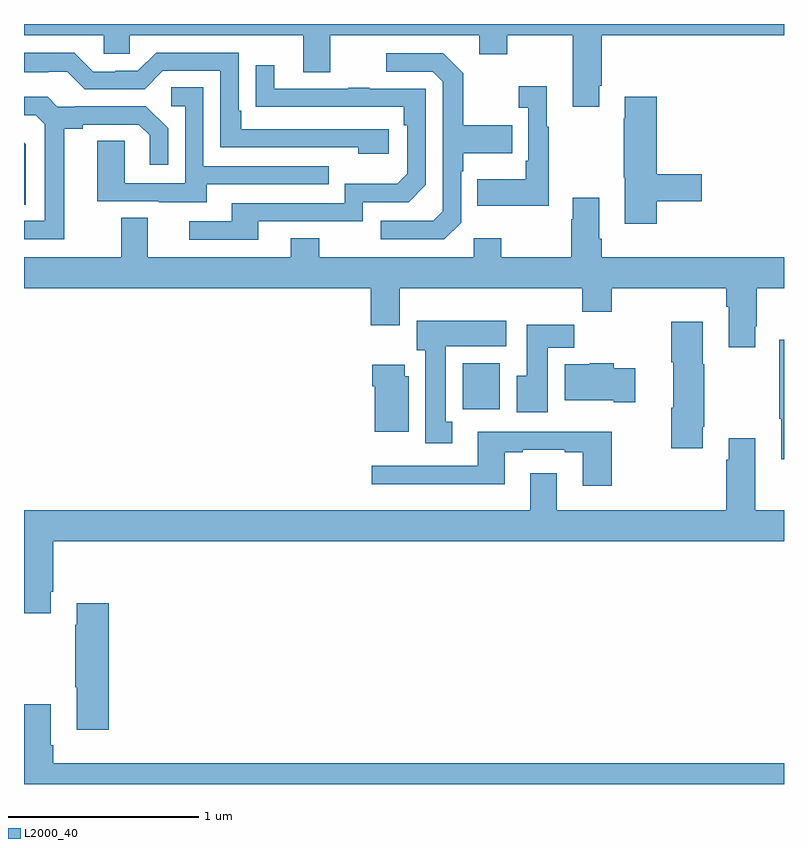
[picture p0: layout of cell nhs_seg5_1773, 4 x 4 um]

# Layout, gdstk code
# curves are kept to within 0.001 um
import gdstk
lib = gdstk.Library(unit=1e-6, precision=1e-09)
def R(c, l, rs):  # rectangles x0, y0, x1, y1
    for r in rs: c.add(gdstk.rectangle(r[:2], r[2:], *l))
def P(c, l, *ps):  # polygons
    for p in ps: c.add(gdstk.Polygon(p, *l))
L2000_40 = (2000, 40)

nhs_seg5_1773 = lib.new_cell('nhs_seg5_1773')
R(nhs_seg5_1773, L2000_40, [(219.308,874.772,219.505,875.014)])
P(nhs_seg5_1773, L2000_40, [(220.027,876.475),(220.04,876.475),(220.04,876.74),(221,876.74),(221,876.799),(217,876.799),(217,876.74),(217.419,876.74),(217.419,876.642),(217.557,876.642),(217.557,876.74),(218.471,876.74),(218.471,876.546),(218.611,876.546),(218.611,876.74),(219.395,876.74),(219.395,876.641),(219.543,876.641),(219.543,876.74),(219.887,876.74),(219.887,876.363),(220.027,876.363)],
  [(218.92,876.246),(218.143,876.246),(218.143,876.343),(218.13,876.343),(218.13,876.648),(217.695,876.648),(217.599,876.552),(217.481,876.552),(217.481,876.549),(217.365,876.549),(217.265,876.649),(217,876.649),(217,876.545),(217.127,876.545),(217.127,876.549),(217.227,876.549),(217.32,876.456),(217.635,876.456),(217.731,876.552),(218.034,876.552),(218.034,876.15),(218.759,876.15),(218.759,876.116),(218.92,876.116)],
  [(219.3,875.754),(219.3,876.023),(219.313,876.023),(219.313,876.119),(219.569,876.119),(219.569,876.267),(219.313,876.267),(219.313,876.539),(219.207,876.645),(218.907,876.645),(218.907,876.549),(219.15,876.549),(219.204,876.495),(219.204,875.814),(219.153,875.763),(218.877,875.763),(218.877,875.667),(219.213,875.667)],
  [(218.233,875.76),(218.784,875.76),(218.784,875.862),(219.024,875.862),(219.114,875.952),(219.114,876.459),(218.819,876.459),(218.819,876.464),(218.707,876.464),(218.707,876.459),(218.317,876.459),(218.317,876.583),(218.221,876.583),(218.221,876.364),(218.998,876.363),(218.998,876.266),(219.018,876.266),(219.018,876.012),(218.965,875.959),(218.688,875.959),(218.688,875.856),(218.093,875.856),(218.093,875.76),(217.869,875.76),(217.869,875.664),(218.233,875.664)],
  [(219.763,876.259),(219.751,876.259),(219.751,876.472),(219.603,876.472),(219.603,876.359),(219.654,876.359),(219.654,876.079),(219.642,876.079),(219.642,875.983),(219.385,875.983),(219.385,875.843),(219.763,875.843)],
  [(217.963,875.955),(218.603,875.955),(218.603,876.051),(217.944,876.051),(217.944,876.467),(217.776,876.467),(217.776,876.366),(217.848,876.366),(217.848,875.961),(217.53,875.961),(217.53,876.185),(217.385,876.185),(217.385,875.865),(217.709,875.865),(217.709,875.861),(217.963,875.861)],
  [(217.213,876.248),(217.309,876.248),(217.309,876.27),(217.604,876.27),(217.661,876.213),(217.661,876.057),(217.758,876.057),(217.758,876.25),(217.642,876.366),(217.27,876.366),(217.27,876.363),(217.176,876.363),(217.124,876.415),(217,876.415),(217,876.318),(217.062,876.318),(217.109,876.271),(217.109,875.763),(217,875.763),(217,875.667),(217.213,875.667)],
  [(220.331,875.866),(220.567,875.866),(220.567,876.008),(220.331,876.008),(220.331,876.415),(220.163,876.415),(220.163,876.302),(220.156,876.302),(220.156,875.991),(220.163,875.991),(220.163,875.748),(220.331,875.748)],
  [(217.008,876.166),(217,876.174),(217,875.848),(217.008,875.848)],
  [(220.04,875.668),(220.027,875.668),(220.027,875.884),(219.887,875.884),(219.887,875.771),(219.88,875.771),(219.88,875.572),(219.513,875.572),(219.513,875.671),(219.366,875.671),(219.366,875.572),(218.553,875.572),(218.553,875.671),(218.405,875.671),(218.405,875.572),(217.651,875.572),(217.651,875.78),(217.511,875.78),(217.511,875.572),(217,875.572),(217,875.408),(218.825,875.408),(218.825,875.214),(218.977,875.214),(218.977,875.408),(219.937,875.408),(219.937,875.284),(220.094,875.284),(220.094,875.408),(220.697,875.408),(220.697,875.312),(220.709,875.312),(220.709,875.097),(220.849,875.097),(220.849,875.209),(220.857,875.209),(220.857,875.408),(221,875.408),(221,875.572),(220.04,875.572)],
  [(219.253,874.706),(219.22,874.706),(219.22,875.102),(219.538,875.102),(219.538,875.236),(219.068,875.236),(219.068,875.082),(219.113,875.082),(219.113,874.593),(219.253,874.593)],
  [(220.573,874.678),(220.581,874.678),(220.581,875.009),(220.573,875.009),(220.573,875.233),(220.406,875.233),(220.406,875.02),(220.418,875.02),(220.418,874.778),(220.406,874.778),(220.406,874.566),(220.573,874.566)],
  [(219.757,875.096),(219.896,875.096),(219.896,875.215),(219.647,875.215),(219.647,874.948),(219.593,874.948),(219.593,874.755),(219.757,874.755)],
  [(221,875.137),(220.974,875.137),(220.974,874.721),(220.985,874.721),(220.985,874.509),(221,874.509)],
  [(220.216,874.986),(220.104,874.986),(220.104,875.014),(219.978,875.014),(219.978,875.008),(219.845,875.008),(219.845,874.82),(220.103,874.82),(220.103,874.808),(220.216,874.808)],
  [(219.025,874.944),(219.004,874.944),(219.004,875.005),(218.834,875.005),(218.834,874.892),(218.846,874.892),(218.846,874.652),(219.025,874.652)],
  [(220.094,874.654),(219.853,874.654),(219.853,874.653),(219.389,874.653),(219.389,874.473),(218.829,874.473),(218.829,874.376),(219.529,874.376),(219.529,874.545),(219.625,874.545),(219.625,874.557),(219.845,874.557),(219.845,874.545),(219.941,874.545),(219.941,874.368),(220.094,874.368)],
  [(217.141,873.811),(217.154,873.811),(217.154,874.076),(221,874.076),(221,874.24),(220.849,874.24),(220.849,874.618),(220.709,874.618),(220.709,874.505),(220.697,874.505),(220.697,874.24),(219.805,874.24),(219.805,874.435),(219.665,874.435),(219.665,874.24),(217,874.24),(217,874.076),(217.001,874.076),(217.001,873.699),(217.141,873.699)],
  [(217.445,873.751),(217.277,873.751),(217.277,873.638),(217.27,873.638),(217.27,873.307),(217.277,873.307),(217.277,873.084),(217.445,873.084)],
  [(221,872.908),(217.154,872.908),(217.154,873.004),(217.141,873.004),(217.141,873.22),(217.001,873.22),(217.001,873.107),(217,873.107),(217,872.799),(221,872.799)])

lib.write_gds('nhs_seg5_1773.gds')
